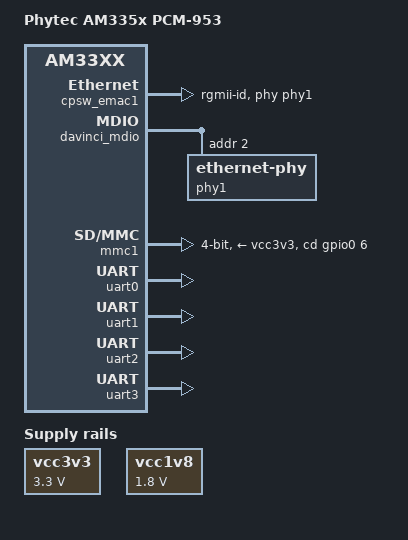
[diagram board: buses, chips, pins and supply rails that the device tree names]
/*
 * Guardian demo device tree for demonstrating TN130 documented features.
 */

#include <dt-bindings/input/input.h>

/ {
	model = "Phytec AM335x PCM-953";
	compatible = "phytec,am335x-pcm-953", "phytec,am335x-phycore-som", "ti,am33xx";

	regulators {
		compatible = "simple-bus";

		vcc3v3: fixedregulator@1 {
			compatible = "regulator-fixed";
			regulator-name = "vcc3v3";
			regulator-min-microvolt = <3300000>;
			regulator-max-microvolt = <3300000>;
			regulator-boot-on;
		};

		vcc1v8: fixedregulator@2 {
			compatible = "regulator-fixed";
			regulator-name = "vcc1v8";
			regulator-min-microvolt = <1800000>;
			regulator-max-microvolt = <1800000>;
			regulator-boot-on;
		};
	};
};

/* Ethernet */
&am33xx_pinmux {
	ethernet1_pins: pinmux_ethernet1 {
		pinctrl-single,pins = <
			0x40 (PIN_OUTPUT_PULLDOWN | MUX_MODE2)	/* gpmc_a0.rgmii2_tctl */
			0x44 (PIN_INPUT_PULLDOWN | MUX_MODE2)   /* gpmc_a1.rgmii2_rctl */
			0x48 (PIN_OUTPUT_PULLDOWN | MUX_MODE2)	/* gpmc_a2.rgmii2_td3 */
			0x4c (PIN_OUTPUT_PULLDOWN | MUX_MODE2)	/* gpmc_a3.rgmii2_td2 */
			0x50 (PIN_OUTPUT_PULLDOWN | MUX_MODE2)	/* gpmc_a4.rgmii2_td1 */
			0x54 (PIN_OUTPUT_PULLDOWN | MUX_MODE2)	/* gpmc_a5.rgmii2_td0 */
			0x58 (PIN_OUTPUT_PULLDOWN | MUX_MODE2)	/* gpmc_a6.rgmii2_tclk */
			0x5c (PIN_INPUT_PULLDOWN | MUX_MODE2)	/* gpmc_a7.rgmii2_rclk */
			0x60 (PIN_INPUT_PULLDOWN | MUX_MODE2)	/* gpmc_a8.rgmii2_rd3 */
			0x64 (PIN_INPUT_PULLDOWN | MUX_MODE2)	/* gpmc_a9.rgmii2_rd2 */
			0x68 (PIN_INPUT_PULLDOWN | MUX_MODE2)	/* gpmc_a10.rgmii2_rd1 */
			0x6c (PIN_INPUT_PULLDOWN | MUX_MODE2)	/* gpmc_a11.rgmii2_rd0 */
		>;
	};
};

&cpsw_emac1 {
	phy-handle = <&phy1>;
	phy-mode = "rgmii-id";
	dual_emac_res_vlan = <2>;
	status = "okay";
};

&davinci_mdio {
	phy1: ethernet-phy@2 {
		reg = <2>;

		/* Register 260 (104h) – RGMII Clock and Control Pad Skew */
		rxc-skew-ps = <1400>;
		rxdv-skew-ps = <0>;
		txc-skew-ps = <1400>;
		txen-skew-ps = <0>;
		/* Register 261 (105h) – RGMII RX Data Pad Skew */
		rxd3-skew-ps = <0>;
		rxd2-skew-ps = <0>;
		rxd1-skew-ps = <0>;
		rxd0-skew-ps = <0>;
		/* Register 262 (106h) – RGMII TX Data Pad Skew */
		txd3-skew-ps = <0>;
		txd2-skew-ps = <0>;
		txd1-skew-ps = <0>;
		txd0-skew-ps = <0>;
	};
};

&mac {
	slaves = <2>;
	pinctrl-names = "default";
	pinctrl-0 = <&ethernet0_pins &ethernet1_pins>;
	dual_emac;
};

&tscadc {
	status = "disabled";
	tsc {
		ti,wires = <4>;
		ti,x-plate-resistance = <200>;
		ti,coordinate-readouts = <5>;
		ti,wire-config = <0x00 0x11 0x22 0x33>;
		ti,charge-delay = <0x400>;
	};
};

/* MMC */
&am33xx_pinmux {
	mmc1_pins: pinmux_mmc1_pins {
		pinctrl-single,pins = <
			0x0F0 (PIN_INPUT_PULLUP | MUX_MODE0)	/* mmc0_dat3.mmc0_dat3 */
			0x0F4 (PIN_INPUT_PULLUP | MUX_MODE0)	/* mmc0_dat2.mmc0_dat2 */
			0x0F8 (PIN_INPUT_PULLUP | MUX_MODE0)	/* mmc0_dat1.mmc0_dat1 */
			0x0FC (PIN_INPUT_PULLUP | MUX_MODE0)	/* mmc0_dat0.mmc0_dat0 */
			0x100 (PIN_INPUT_PULLUP | MUX_MODE0)	/* mmc0_clk.mmc0_clk */
			0x104 (PIN_INPUT_PULLUP | MUX_MODE0)	/* mmc0_cmd.mmc0_cmd */
			0x160 (PIN_INPUT_PULLUP | MUX_MODE7)	/* spi0_cs1.mmc0_sdcd */
		>;
	};
};

&mmc1 {
	vmmc-supply = <&vcc3v3>;
	bus-width = <4>;
	pinctrl-names = "default";
	pinctrl-0 = <&mmc1_pins>;
	cd-gpios = <&gpio0 6 GPIO_ACTIVE_HIGH>;
	status = "okay";
};

/* UARTs */
&am33xx_pinmux {
	uart0_pins: pinmux_uart0 {
		pinctrl-single,pins = <
			0x170 (PIN_INPUT_PULLUP | MUX_MODE0)    /* uart0_rxd.uart0_rxd */
			0x174 (PIN_OUTPUT_PULLDOWN | MUX_MODE0) /* uart0_txd.uart0_txd */
		>;
	};

	uart1_pins: pinmux_uart1 {
		pinctrl-single,pins = <
			0x180 (PIN_INPUT_PULLUP | MUX_MODE0)	/* uart1_rxd.uart1_rxd */
			0x184 (PIN_OUTPUT_PULLDOWN | MUX_MODE0)	/* uart1_txd.uart1_txd */
			0x178 (PIN_INPUT | MUX_MODE0)		/* uart1_ctsn.uart1_ctsn */
			0x17c (PIN_OUTPUT_PULLDOWN | MUX_MODE0)	/* uart1_rtsn.uart1_rtsn */
		>;
	};

	uart2_pins: pinmux_uart2 {
		pinctrl-single,pins = <
			0x12C (PIN_INPUT_PULLUP | MUX_MODE1)	/* mii1_tx_clk.uart2_rxd */
			0x130 (PIN_OUTPUT_PULLDOWN | MUX_MODE1)	/* mii1_rx_clk.uart2_txd */
		>;
	};

	uart3_pins: pinmux_uart3 {
		pinctrl-single,pins = <
			0x134 (PIN_INPUT_PULLUP | MUX_MODE1)	/* mii1_rxd3.uart3_rxd */
			0x138 (PIN_OUTPUT_PULLDOWN | MUX_MODE1)	/* mii1_rxd2.uart3_txd */
		>;
	};
};

&uart0 {
	pinctrl-names = "default";
	pinctrl-0 = <&uart0_pins>;
	status = "okay";
};

&uart1 {
	pinctrl-names = "default";
	pinctrl-0 = <&uart1_pins>;
        status = "okay";
};

&uart2 {
	pinctrl-names = "default";
	pinctrl-0 = <&uart2_pins>;
	status = "okay";
};

&uart3 {
	pinctrl-names = "default";
	pinctrl-0 = <&uart3_pins>;
	status = "okay";
};
